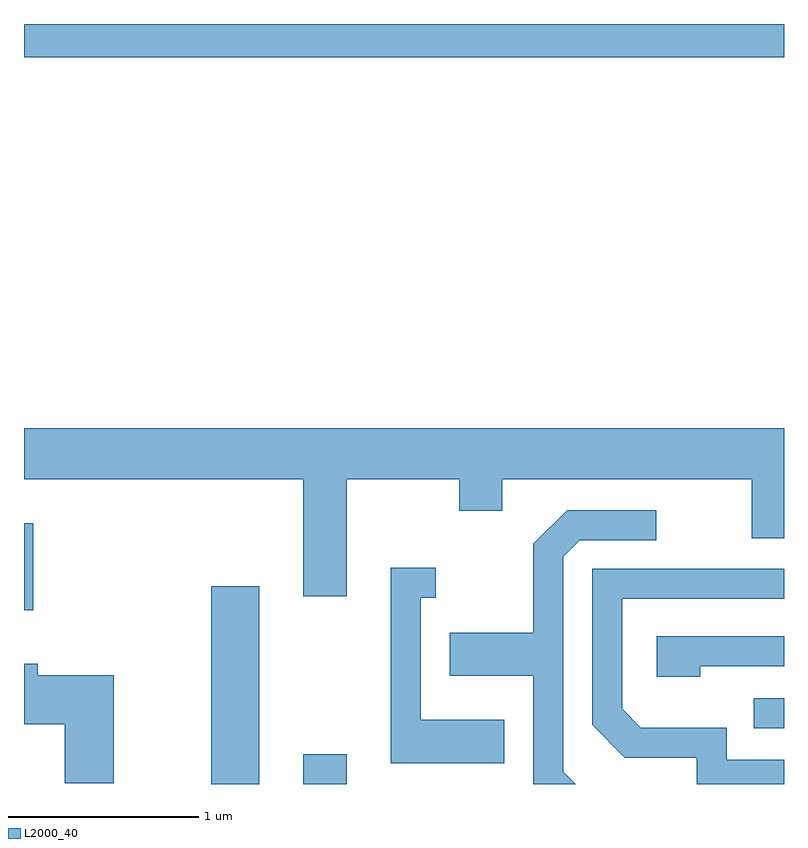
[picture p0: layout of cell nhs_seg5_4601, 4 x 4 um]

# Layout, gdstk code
import gdstk
lib = gdstk.Library(unit=1e-6, precision=1e-09)
def R(c, l, rs):  # rectangles x0, y0, x1, y1
    for r in rs: c.add(gdstk.rectangle(r[:2], r[2:], *l))
def P(c, l, *ps):  # polygons
    for p in ps: c.add(gdstk.Polygon(p, *l))
L2000_40 = (2000, 40)

nhs_seg5_4601 = lib.new_cell('nhs_seg5_4601')
R(nhs_seg5_4601, L2000_40, [(322.596,1464.072,322.849,1465.114), (323.081,1464.072,323.309,1464.229), (325.453,1464.366,325.611,1464.524), (321.611,1464.986,321.659,1465.444), (321.611,1467.896,325.611,1468.072)])
P(nhs_seg5_4601, L2000_40, [(323.309,1465.676),(323.901,1465.676),(323.901,1465.511),(324.129,1465.511),(324.129,1465.676),(325.441,1465.676),(325.441,1465.366),(325.611,1465.366),(325.611,1465.944),(321.611,1465.944),(321.611,1465.676),(323.081,1465.676),(323.081,1465.061),(323.309,1465.061)],
  [(324.449,1464.137),(324.449,1465.269),(324.537,1465.356),(324.938,1465.356),(324.938,1465.514),(324.469,1465.514),(324.291,1465.337),(324.291,1464.869),(323.851,1464.869),(323.851,1464.641),(324.291,1464.641),(324.291,1464.072),(324.514,1464.072)],
  [(324.139,1464.409),(323.699,1464.409),(323.699,1465.051),(323.778,1465.051),(323.778,1465.209),(323.541,1465.209),(323.541,1464.181),(324.139,1464.181)],
  [(325.611,1464.199),(325.309,1464.199),(325.309,1464.369),(324.857,1464.369),(324.759,1464.467),(324.759,1465.046),(325.611,1465.046),(325.611,1465.204),(324.601,1465.204),(324.601,1464.384),(324.774,1464.211),(325.151,1464.211),(325.151,1464.072),(325.611,1464.072)],
  [(325.169,1464.691),(325.611,1464.691),(325.611,1464.849),(324.941,1464.849),(324.941,1464.636),(325.169,1464.636)],
  [(322.084,1464.644),(321.684,1464.644),(321.684,1464.704),(321.611,1464.704),(321.611,1464.386),(321.826,1464.386),(321.826,1464.076),(322.084,1464.076)])

lib.write_gds('nhs_seg5_4601.gds')
